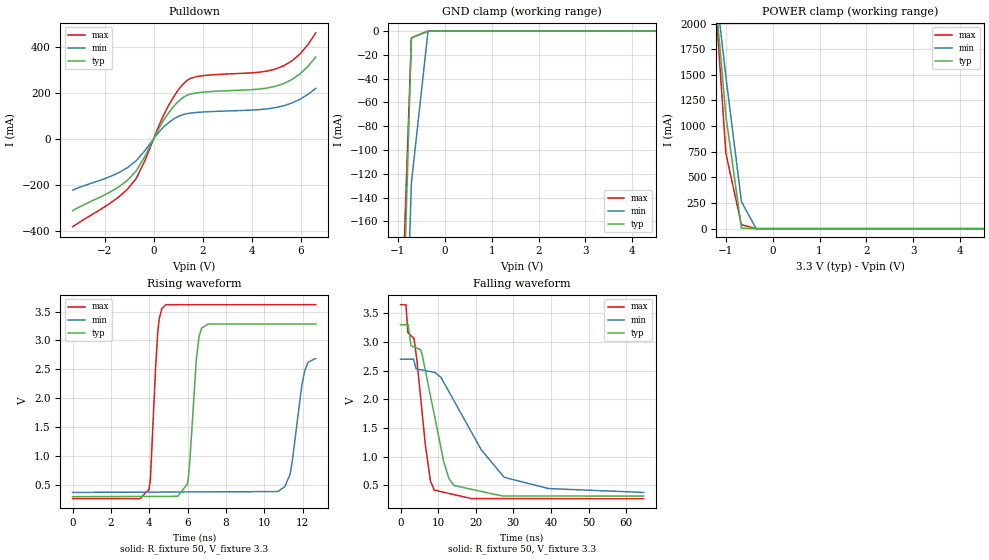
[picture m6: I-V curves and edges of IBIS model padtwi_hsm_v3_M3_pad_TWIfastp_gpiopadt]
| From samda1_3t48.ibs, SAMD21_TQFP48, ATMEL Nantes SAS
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|   MODEL : padtwi_hsm_v3_M3_pad_TWIfastp_gpiopadt
[Model] padtwi_hsm_v3_M3_pad_TWIfastp_gpiopadt
Model_type I/O_open_sink
Vinl  =  0.99
Vinh  =  2.31
Vmeas =  1.650
| Capacitance   typ   min   max
C_comp   2.23028031852e-12   2.18517971039e-12   2.30250568883e-12
| Variables   typ   min   max
[GND Clamp Reference]   0   0   0
[POWER Clamp Reference]   3.3   2.7   3.65
[Pulldown Reference]   0   0   0
[Pullup Reference]   3.3   2.7   3.65
[Temperature Range]   25   125   -40
[Voltage Range]   3.3   2.7   3.65
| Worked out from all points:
|   slope of the pulldown table from 0 to 0.495 V, typ, clamps not added: 5.21 ohm
|   rising waveform, R_fixture 50, V_fixture 3.3: 20-80 % time 351ps typ, 536ps min, 301ps max; typ from 0.294 V to 3.28 V
|   falling waveform, R_fixture 50, V_fixture 3.3: 20-80 % time 5.52ns typ, 13ns min, 3.4ns max; typ from 3.3 V to 0.315 V
[GND Clamp]
| Voltage   I(typ)   I(min)   I(max)
-3.3V     -4.288A    -3.569A    -5.225A
-1.064V   -482mA     -569.2mA   -405mA
-709.1mV  -5.635mA   -127.8mA   -5.807mA
-354.5mV  -2.506uA   -27.55uA   -534.5nA
6.6V      0A         0A         0A
[POWER Clamp]
| Voltage   I(typ)   I(min)   I(max)
-3.3V     13.48A     10.93A     16.51A
-1.327V   2.843A     2.81A      2.962A
-995.5mV  1.1A       1.483A     734.3mA
-663.6mV  4.961mA    263.1mA    38.25mA
-350mV    12.03uA    85.42uA    545.4uA
6.6V      0A         0A         0A
[Pulldown]
| Voltage   I(typ)   I(min)   I(max)
-3.3V     -311.2mA   -222.1mA   -381.4mA
-1.418V   -208mA     -146.5mA   -251.5mA
-709.1mV  -139mA     -94.73mA   -171.5mA
-354.5mV  -75.45mA   -50.71mA   -93.74mA
515.6mV   98.29mA    61.77mA    125.7mA
928.1mV   153.6mA    92.92mA    200.5mA
1.341V    187.7mA    108.7mA    251.5mA
1.959V    201.9mA    116mA      273.3mA
4.959V    227.7mA    135.3mA    302.6mA
5.623V    256.8mA    155.2mA    337.6mA
5.955V    281.3mA    171.4mA    367.7mA
6.6V      354.8mA    219.1mA    459.6mA
[Ramp]
dV/dt_r   1.80387/0.354664n  1.4/0.54037n  2.03465/0.304921n
dV/dt_f   1.80387/5.5809n  1.4/13.1111n  2.03465/3.41334n
R_load = 50
[Rising Waveform]
R_fixture = 50
V_fixture = 3.3
V_fixture_min = 2.7
V_fixture_max = 3.65
| Time   V(typ)   V(min)   V(max)
0s        293.5mV    366.7mV    258.9mV
3.99ns    297.1mV    372.2mV    423.9mV
4.447ns   297.5mV    372.8mV    3.164V
4.861ns   297.9mV    373.4mV    3.618V
5.986ns   512.3mV    374.9mV    3.618V
6.454ns   2.665V     375.5mV    3.619V
6.733ns   3.213V     375.9mV    3.619V
11.07ns   3.284V     465mV      3.619V
12.11ns   3.284V     2.473V     3.619V
12.69ns   3.284V     2.689V     3.619V
[Falling Waveform]
R_fixture = 50
V_fixture = 3.3
V_fixture_min = 2.7
V_fixture_max = 3.65
| Time   V(typ)   V(min)   V(max)
0s        3.3V       2.7V       3.65V
1.429ns   3.301V     2.7V       3.65V
1.952ns   3.301V     2.7V       3.164V
3.59ns    2.913V     2.67V      3.061V
6.556ns   2.519V     2.501V     1.233V
8.976ns   1.731V     2.471V     419mV
11.46ns   922mV      2.3V       382.1mV
14.19ns   499.7mV    1.978V     341.5mV
27.57ns   317.1mV    642.1mV    271.2mV
64.65ns   314.5mV    378.7mV    269.8mV
